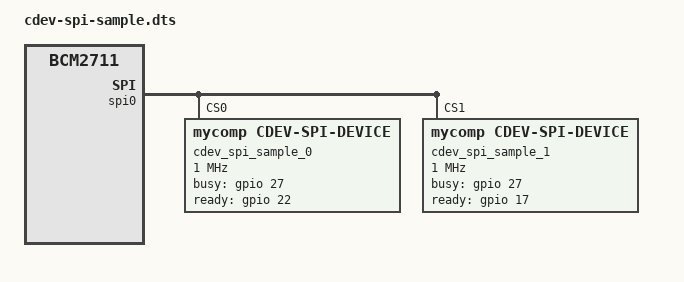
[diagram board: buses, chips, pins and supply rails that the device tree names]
/dts-v1/;
/plugin/;
/ {
	compatible = "brcm,bcm2711";

        fragment@0 {
                target = <&spidev0>;
                __overlay__ {
                        status = "disabled";
                };
        };

        fragment@1 {
                target = <&spidev1>;
                __overlay__ {
                        status = "disabled";
                };
        };

        fragment@2 {
                target = <&spi0>;
                __overlay__ {
                        status = "okay";
                        #address-cells = <1>;
                        #size-cells = <0>;

                        cdev_spi_sample_0: cdev-spi-sample@0 {
                                compatible = "mycomp,cdev-spi-device";
                                reg = <0x0>;
                                spi-max-frequency = <1000000>;
                                spi-bits-per-word = <8>;
				mycomp,busy-gpios = <&gpio 27 0>; 
				mycomp,ready-gpios = <&gpio 22 0>; 
                                status = "okay";
                        };

                        cdev_spi_sample_1: cdev-spi-sample@1 {
                                compatible = "mycomp,cdev-spi-device";
                                reg = <0x1>;
                                spi-max-frequency = <1000000>;
                                spi-bits-per-word = <8>;
				mycomp,busy-gpios = <&gpio 27 0>; 
				mycomp,ready-gpios = <&gpio 17 0>; 
                                status = "okay";
                        };
                };
        };
};
